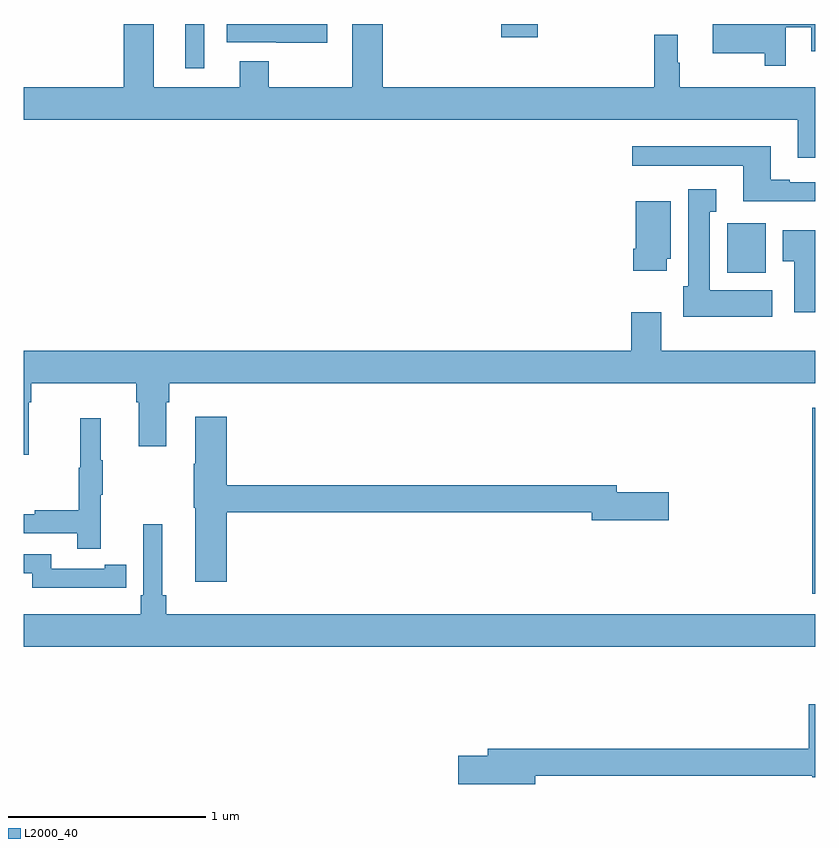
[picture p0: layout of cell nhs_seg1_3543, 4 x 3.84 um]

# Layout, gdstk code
import gdstk
lib = gdstk.Library(unit=1e-6, precision=1e-09)
def R(c, l, rs):  # rectangles x0, y0, x1, y1
    for r in rs: c.add(gdstk.rectangle(r[:2], r[2:], *l))
def P(c, l, *ps):  # polygons
    for p in ps: c.add(gdstk.Polygon(p, *l))
L2000_40 = (2000, 40)

nhs_seg1_3543 = lib.new_cell('nhs_seg1_3543')
R(nhs_seg1_3543, L2000_40, [(306.986,565.32,307,566.26), (306.555,566.942,306.751,567.192), (303.815,567.975,303.912,568.199), (305.414,568.131,305.597,568.199)])
P(nhs_seg1_3543, L2000_40, [(304.534,568.199),(304.026,568.199),(304.026,568.107),(304.275,568.107),(304.275,568.105),(304.534,568.105)],
  [(307,567.88),(306.316,567.88),(306.316,568.004),(306.304,568.004),(306.304,568.144),(306.187,568.144),(306.187,567.88),(304.814,567.88),(304.814,568.199),(304.661,568.199),(304.661,567.88),(304.239,567.88),(304.239,568.012),(304.091,568.012),(304.091,567.88),(303.658,567.88),(303.658,568.199),(303.506,568.199),(303.506,567.88),(303,567.88),(303,567.716),(306.911,567.716),(306.911,567.522),(307,567.522)],
  [(306.852,568.182),(306.98,568.182),(306.98,568.062),(307,568.062),(307,568.199),(306.482,568.199),(306.482,568.052),(306.744,568.052),(306.744,567.987),(306.852,567.987)],
  [(307,567.399),(306.871,567.399),(306.871,567.412),(306.775,567.412),(306.775,567.58),(306.075,567.58),(306.075,567.483),(306.635,567.483),(306.635,567.302),(307,567.302)],
  [(306.784,566.854),(306.466,566.854),(306.466,567.251),(306.499,567.251),(306.499,567.364),(306.359,567.364),(306.359,566.874),(306.332,566.874),(306.332,566.72),(306.784,566.72)],
  [(306.25,567.012),(306.271,567.012),(306.271,567.304),(306.092,567.304),(306.092,567.064),(306.08,567.064),(306.08,566.952),(306.25,566.952)],
  [(307,567.157),(306.836,567.157),(306.836,567.001),(306.893,567.001),(306.893,566.742),(307,566.742)],
  [(303.025,566.288),(303.038,566.288),(303.038,566.384),(303.569,566.384),(303.569,566.288),(303.581,566.288),(303.581,566.064),(303.721,566.064),(303.721,566.288),(303.734,566.288),(303.734,566.384),(307,566.384),(307,566.548),(306.223,566.548),(306.223,566.743),(306.071,566.743),(306.071,566.548),(303,566.548),(303,566.022),(303.025,566.022)],
  [(304.025,565.732),(305.87,565.732),(305.87,565.69),(306.259,565.69),(306.259,565.832),(305.998,565.832),(305.998,565.868),(304.025,565.868),(304.025,566.215),(303.866,566.215),(303.866,565.976),(303.859,565.976),(303.859,565.755),(303.866,565.755),(303.866,565.38),(304.025,565.38)],
  [(303.389,565.819),(303.4,565.819),(303.4,565.993),(303.389,565.993),(303.389,566.206),(303.286,566.206),(303.286,565.956),(303.279,565.956),(303.279,565.742),(303.055,565.742),(303.055,565.722),(303,565.722),(303,565.626),(303.271,565.626),(303.271,565.548),(303.389,565.548)],
  [(307,565.216),(303.719,565.216),(303.719,565.312),(303.7,565.312),(303.7,565.672),(303.603,565.672),(303.603,565.312),(303.59,565.312),(303.59,565.216),(303,565.216),(303,565.052),(307,565.052)],
  [(303.41,565.35),(303.518,565.35),(303.518,565.466),(303.41,565.466),(303.41,565.446),(303.138,565.446),(303.138,565.518),(303,565.518),(303,565.422),(303.042,565.422),(303.042,565.349),(303.41,565.349)],
  [(305.584,564.4),(306.984,564.4),(306.984,564.392),(307,564.392),(307,564.76),(306.968,564.76),(306.968,564.536),(305.345,564.536),(305.345,564.5),(305.196,564.5),(305.196,564.358),(305.584,564.358)])

lib.write_gds('nhs_seg1_3543.gds')
